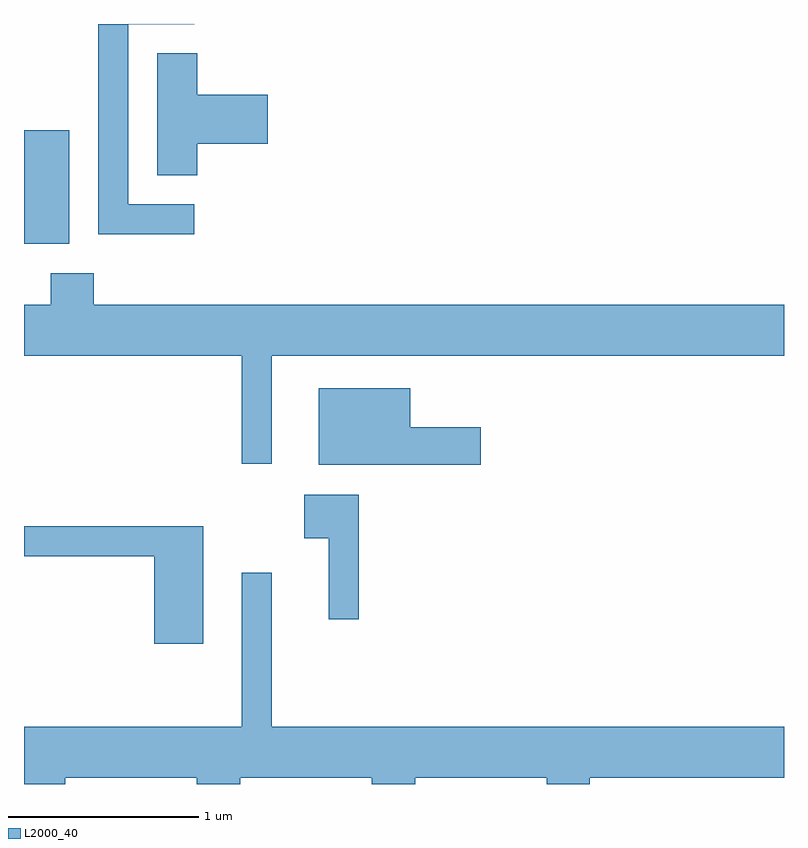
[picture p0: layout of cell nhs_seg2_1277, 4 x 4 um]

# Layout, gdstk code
import gdstk
lib = gdstk.Library(unit=1e-6, precision=1e-09)
def R(c, l, rs):  # rectangles x0, y0, x1, y1
    for r in rs: c.add(gdstk.rectangle(r[:2], r[2:], *l))
def P(c, l, *ps):  # polygons
    for p in ps: c.add(gdstk.Polygon(p, *l))
L2000_40 = (2000, 40)

nhs_seg2_1277 = lib.new_cell('nhs_seg2_1277')
R(nhs_seg2_1277, L2000_40, [(221.611,1086.646,221.849,1087.244)])
P(nhs_seg2_1277, L2000_40, [(222.508,1086.854),(222.159,1086.854),(222.159,1087.801),(222.508,1087.801),(222.508,1087.802),(221.611,1087.802),(221.611,1087.801),(222.001,1087.801),(222.001,1086.696),(222.508,1086.696)],
  [(222.524,1087.171),(222.894,1087.171),(222.894,1087.429),(222.524,1087.429),(222.524,1087.649),(222.311,1087.649),(222.311,1087.006),(222.524,1087.006)],
  [(222.914,1086.056),(225.611,1086.056),(225.611,1086.324),(221.979,1086.324),(221.979,1086.489),(221.751,1086.489),(221.751,1086.324),(221.611,1086.324),(221.611,1086.056),(222.756,1086.056),(222.756,1085.488),(222.914,1085.488)],
  [(224.014,1085.679),(223.644,1085.679),(223.644,1085.884),(223.161,1085.884),(223.161,1085.481),(224.014,1085.481)],
  [(223.374,1085.324),(223.086,1085.324),(223.086,1085.096),(223.216,1085.096),(223.216,1084.668),(223.374,1084.668)],
  [(222.554,1085.159),(221.611,1085.159),(221.611,1085.001),(222.296,1085.001),(222.296,1084.541),(222.554,1084.541)],
  [(221.829,1083.836),(222.521,1083.836),(222.521,1083.802),(222.749,1083.802),(222.749,1083.836),(223.441,1083.836),(223.441,1083.802),(223.669,1083.802),(223.669,1083.836),(224.361,1083.836),(224.361,1083.802),(224.589,1083.802),(224.589,1083.836),(225.611,1083.836),(225.611,1084.104),(222.914,1084.104),(222.914,1084.913),(222.756,1084.913),(222.756,1084.104),(221.611,1084.104),(221.611,1083.802),(221.829,1083.802)])

lib.write_gds('nhs_seg2_1277.gds')
